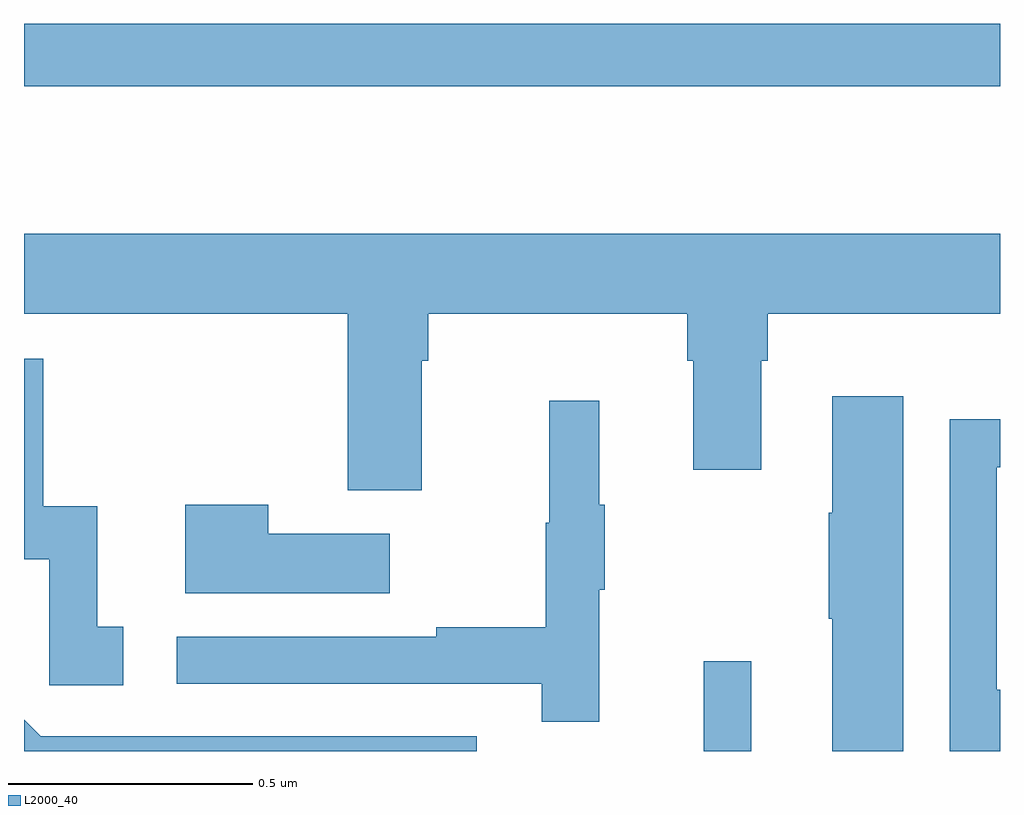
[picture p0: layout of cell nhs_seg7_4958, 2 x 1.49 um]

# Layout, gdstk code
import gdstk
lib = gdstk.Library(unit=1e-6, precision=1e-09)
def R(c, l, rs):  # rectangles x0, y0, x1, y1
    for r in rs: c.add(gdstk.rectangle(r[:2], r[2:], *l))
def P(c, l, *ps):  # polygons
    for p in ps: c.add(gdstk.Polygon(p, *l))
L2000_40 = (2000, 40)

nhs_seg7_4958 = lib.new_cell('nhs_seg7_4958')
R(nhs_seg7_4958, L2000_40, [(180.393,1053,180.49,1053.184), (179,1054.362,181,1054.49)])
P(nhs_seg7_4958, L2000_40, [(179.815,1053.8),(179.828,1053.8),(179.828,1053.896),(180.359,1053.896),(180.359,1053.8),(180.371,1053.8),(180.371,1053.576),(180.511,1053.576),(180.511,1053.8),(180.524,1053.8),(180.524,1053.896),(181,1053.896),(181,1054.06),(179,1054.06),(179,1053.896),(179.663,1053.896),(179.663,1053.534),(179.815,1053.534)],
  [(179.203,1053.255),(179.15,1053.255),(179.15,1053.502),(179.039,1053.502),(179.039,1053.804),(179,1053.804),(179,1053.393),(179.052,1053.393),(179.052,1053.135),(179.203,1053.135)],
  [(180.802,1053.727),(180.656,1053.727),(180.656,1053.488),(180.649,1053.488),(180.649,1053.271),(180.656,1053.271),(180.656,1053),(180.802,1053)],
  [(180.179,1053.331),(180.19,1053.331),(180.19,1053.505),(180.179,1053.505),(180.179,1053.718),(180.076,1053.718),(180.076,1053.468),(180.069,1053.468),(180.069,1053.254),(179.845,1053.254),(179.845,1053.234),(179.313,1053.234),(179.313,1053.138),(180.061,1053.138),(180.061,1053.06),(180.179,1053.06)],
  [(181,1053.126),(180.993,1053.126),(180.993,1053.582),(181,1053.582),(181,1053.68),(180.897,1053.68),(180.897,1053),(181,1053)],
  [(179.749,1053.445),(179.501,1053.445),(179.501,1053.505),(179.33,1053.505),(179.33,1053.323),(179.749,1053.323)],
  [(179.928,1053.03),(179.034,1053.03),(179,1053.064),(179,1053),(179.928,1053)])

lib.write_gds('nhs_seg7_4958.gds')
